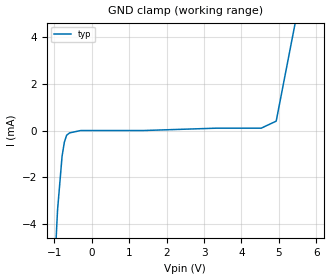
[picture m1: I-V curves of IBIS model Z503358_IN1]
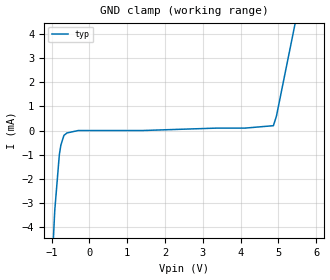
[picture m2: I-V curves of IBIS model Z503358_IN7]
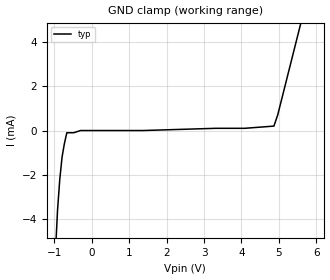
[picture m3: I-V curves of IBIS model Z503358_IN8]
| YOU ARE ONLY AUTHORIZED TO USE THIS SOFTWARE
| ACCORDING TO LICENSOR'S LICENSE RESTRICTIONS.
[IBIS Ver] 3.1
[File Name] mc100e107fn_pecl.ibs
[File Rev] 2.0
[Source] Measured and created by ICX Technology
[Date] Friday 7/14/00 9:07:46 AM
[Copyright]
| (C) COPYRIGHT 1993-2000
| MENTOR GRAPHICS CORPORATION
| ICX STANDARD LIBRARY, ICX PROJECT MODELING,
| ICX CUSTOM MODELING, ICX VENDOR MODEL
| ALL RIGHTS RESERVED.
| THE FOLLOWING ARE TRADEMARKS OR SERVICE MARKS OF
| MENTOR GRAPHICS CORPORATION:ICX (R), ICX STANDARD
| LIBRARY(R), ICX PROJECT MODELING(R), ICX CUSTOM
| MODELING(R), qualityIBIS(TM), MODELVIEWER(TM),
| AND MODELEDITOR(TM)
| ALL COPIES OF SOFTWARE, INCLUDING BUT NOT LIMITED TO
| ANY MODIFICATIONS, ENHANCEMENTS OR DERIVATIVE WORKS,
| MUST CONTAIN ALL MENTOR GRAPHICS CORPORATION'S
| NOTICES AND LEGENDS, INCLUDING THOSE EMBEDDED IN
| SOFTWARE AND THOSE AFFIXED TO SOFTWARE MEDIUM
| AND CONTAINER, AS RECEIVED FROM MENTOR GRAPHICS
| CORPORATION.
|  ZAP Model Builder 2.7
[Component] MC100E107FN_PECL
[Manufacturer] OnSemiconductor
[Package]
| variable   typ   min   max
R_pkg  .083ohms NA NA
L_pkg  4.299nH NA NA
C_pkg  1.045pF NA NA
[Pin] signal_name  model_name  R_pin  L_pin C_pin
1 VEE GND .08 3.94n .925p
2 D1A Z503358_IN1 .082 4.14n .995p
3 D1B Z503358_IN1 .084 4.354n 1.065p
4 D0A Z503358_IN1 .086 4.583n 1.135p
5 D0B Z503358_IN1 .086 4.583n 1.135p
6 VCCO POWER .084 4.354n 1.065p
7 Q1 Z503358_OUT2 .082 4.14n .995p
8 _Q0 Z503358_OUT3 .08 3.94n .925p
9 Q1 Z503358_OUT2 .082 4.14n .995p
10 _Q1 Z503358_OUT3 .084 4.354n 1.065p
11 VCCO POWER .086 4.583n 1.135p
12 Q2 Z503358_OUT4 .086 4.583n 1.135p
13 _Q2 Z503358_OUT5 .084 4.354n 1.065p
14 Q3 Z503358_OUT4 .082 4.14n .995p
15 _Q3 Z503358_OUT5 .08 3.94n .925p
16 VCC POWER .082 4.14n .995p
17 Q4 Z503358_OUT4 .084 4.354n 1.065p
18 _Q4 Z503358_OUT5 .086 4.583n 1.135p
19 _F Z503358_OUT6 .086 4.583n 1.135p
20 F Z503358_OUT6 .084 4.354n 1.065p
21 VCCO POWER .082 4.14n .995p
22 NC NC .08 3.94n .925p
23 D4A Z503358_IN7 .082 4.14n .995p
24 D4B Z503358_IN7 .084 4.354n 1.065p
25 D3A Z503358_IN7 .086 4.583n 1.135p
26 D3B Z503358_IN8 .086 4.583n 1.135p
27 D2A Z503358_IN8 .084 4.354n 1.065p
28 D2B Z503358_IN8 .082 4.14n .995p
| Models and submodels in the file (8): Z503358_IN1 (Input_ECL), Z503358_IN7 (Input_ECL), Z503358_IN8 (Input_ECL), Z503358_OUT2 (Output_ECL), Z503358_OUT3 (Output_ECL), Z503358_OUT4 (Output_ECL), Z503358_OUT5 (Output_ECL), Z503358_OUT6 (Output_ECL)
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| (C) COPYRIGHT 1993-2000
| MENTOR GRAPHICS CORPORATION
| ICX STANDARD LIBRARY, ICX PROJECT MODELING,
| ICX CUSTOM MODELING, ICX VENDOR MODEL
| ALL RIGHTS RESERVED.
| THE FOLLOWING ARE TRADEMARKS OR SERVICE MARKS OF
| MENTOR GRAPHICS CORPORATION:ICX (R), ICX STANDARD
| LIBRARY(R), ICX PROJECT MODELING(R), ICX CUSTOM
| MODELING(R), qualityIBIS(TM), MODELVIEWER(TM),
| AND MODELEDITOR(TM)
| ALL COPIES OF SOFTWARE, INCLUDING BUT NOT LIMITED TO
| ANY MODIFICATIONS, ENHANCEMENTS OR DERIVATIVE WORKS,
| MUST CONTAIN ALL MENTOR GRAPHICS CORPORATION'S
| NOTICES AND LEGENDS, INCLUDING THOSE EMBEDDED IN
| SOFTWARE AND THOSE AFFIXED TO SOFTWARE MEDIUM
| AND CONTAINER, AS RECEIVED FROM MENTOR GRAPHICS
| CORPORATION.
| Model Application Version 1.89 2/18/99.
[Model] Z503358_IN1
Model_type Input_ECL
Vinl = 3.525V
Vinh = 3.835V
C_comp 4.000pF NA NA
| variable typ   min   max
[Voltage Range] 5.000V NA NA
[GND Clamp Reference] 0.000V NA NA
[POWER Clamp Reference] 5.000V NA NA
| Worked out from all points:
|   GND clamp passes 1 mA (typ) near -0.78 V on its own axis
[GND Clamp]
-5V       -192.9mA   NA         NA
-1.059V   -8mA       NA         NA
-916mV    -3.4mA     NA         NA
-795mV    -1.1mA     NA         NA
-734mV    -500uA     NA         NA
-673mV    -200uA     NA         NA
-592mV    -100uA     NA         NA
-296mV    0A         NA         NA
1.377V    0A         NA         NA
3.326V    100uA      NA         NA
4.528V    100uA      NA         NA
10V       42.14mA    NA         NA
[POWER Clamp]
-5V       0A         NA         NA
10V       0A         NA         NA
| (C) COPYRIGHT 1993-2000
| MENTOR GRAPHICS CORPORATION
| ICX STANDARD LIBRARY, ICX PROJECT MODELING,
| ICX CUSTOM MODELING, ICX VENDOR MODEL
| ALL RIGHTS RESERVED.
| THE FOLLOWING ARE TRADEMARKS OR SERVICE MARKS OF
| MENTOR GRAPHICS CORPORATION:ICX (R), ICX STANDARD
| LIBRARY(R), ICX PROJECT MODELING(R), ICX CUSTOM
| MODELING(R), qualityIBIS(TM), MODELVIEWER(TM),
| AND MODELEDITOR(TM)
| ALL COPIES OF SOFTWARE, INCLUDING BUT NOT LIMITED TO
| ANY MODIFICATIONS, ENHANCEMENTS OR DERIVATIVE WORKS,
| MUST CONTAIN ALL MENTOR GRAPHICS CORPORATION'S
| NOTICES AND LEGENDS, INCLUDING THOSE EMBEDDED IN
| SOFTWARE AND THOSE AFFIXED TO SOFTWARE MEDIUM
| AND CONTAINER, AS RECEIVED FROM MENTOR GRAPHICS
| CORPORATION.
| Model Application Version 1.89 2/18/99.
[Model] Z503358_IN7
Model_type Input_ECL
Vinl = 3.525V
Vinh = 3.835V
C_comp 4.000pF NA NA
| variable typ   min   max
[Voltage Range] 5.000V NA NA
[GND Clamp Reference] 0.000V NA NA
[POWER Clamp Reference] 5.000V NA NA
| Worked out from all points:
|   GND clamp passes 1 mA (typ) near -0.80 V on its own axis
[GND Clamp]
-5V       -192.8mA   NA         NA
-1.059V   -7.9mA     NA         NA
-916mV    -3.3mA     NA         NA
-795mV    -1mA       NA         NA
-754mV    -600uA     NA         NA
-673mV    -200uA     NA         NA
-592mV    -100uA     NA         NA
-296mV    0A         NA         NA
4.118V    100uA      NA         NA
4.868V    200uA      NA         NA
4.949V    600uA      NA         NA
10V       39.73mA    NA         NA
[POWER Clamp]
-5V       0A         NA         NA
10V       0A         NA         NA
| (C) COPYRIGHT 1993-2000
| MENTOR GRAPHICS CORPORATION
| ICX STANDARD LIBRARY, ICX PROJECT MODELING,
| ICX CUSTOM MODELING, ICX VENDOR MODEL
| ALL RIGHTS RESERVED.
| THE FOLLOWING ARE TRADEMARKS OR SERVICE MARKS OF
| MENTOR GRAPHICS CORPORATION:ICX (R), ICX STANDARD
| LIBRARY(R), ICX PROJECT MODELING(R), ICX CUSTOM
| MODELING(R), qualityIBIS(TM), MODELVIEWER(TM),
| AND MODELEDITOR(TM)
| ALL COPIES OF SOFTWARE, INCLUDING BUT NOT LIMITED TO
| ANY MODIFICATIONS, ENHANCEMENTS OR DERIVATIVE WORKS,
| MUST CONTAIN ALL MENTOR GRAPHICS CORPORATION'S
| NOTICES AND LEGENDS, INCLUDING THOSE EMBEDDED IN
| SOFTWARE AND THOSE AFFIXED TO SOFTWARE MEDIUM
| AND CONTAINER, AS RECEIVED FROM MENTOR GRAPHICS
| CORPORATION.
| Model Application Version 1.89 2/18/99.
[Model] Z503358_IN8
Model_type Input_ECL
Vinl = 3.525V
Vinh = 3.835V
C_comp 4.000pF NA NA
| variable typ   min   max
[Voltage Range] 5.000V NA NA
[GND Clamp Reference] 0.000V NA NA
[POWER Clamp Reference] 5.000V NA NA
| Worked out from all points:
|   GND clamp passes 1 mA (typ) near -0.77 V on its own axis
[GND Clamp]
-5V       -213.5mA   NA         NA
-1.079V   -9.2mA     NA         NA
-916mV    -3.6mA     NA         NA
-856mV    -2.2mA     NA         NA
-795mV    -1.2mA     NA         NA
-734mV    -600uA     NA         NA
-667.8mV  -100uA     NA         NA
-300.8mV  0A         NA         NA
4.087V    100uA      NA         NA
4.868V    200uA      NA         NA
4.969V    700uA      NA         NA
10V       34.39mA    NA         NA
[POWER Clamp]
-5V       0A         NA         NA
10V       0A         NA         NA
